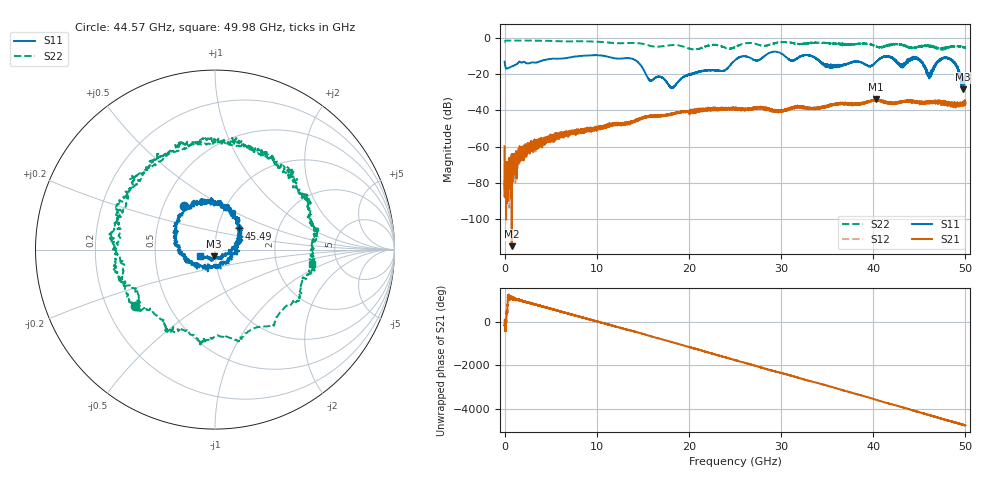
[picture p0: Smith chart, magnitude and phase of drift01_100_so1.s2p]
!Created with skrf (http://scikit-rf.org).
# Hz S RI R 50.0
!freq ReS11 ImS11 ReS21 ImS21 ReS12 ImS12 ReS22 ImS22
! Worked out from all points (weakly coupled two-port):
!   10001 points, 300 kHz to 50 GHz, reference 50 ohm
!   highest |S21| = -33.92 dB at 40.32 GHz (marker M1); lowest = -115.1 dB at 775.3 MHz (marker M2)
!   lowest |S11| = -28.3 dB at 49.72 GHz (marker M3), VSWR 1.08, Z = 49.5 - j3.8 ohm
!   |S11| at or under -10 dB: start of sweep to 8.082 GHz; 10.91 GHz to 25.99 GHz (15.07 GHz wide, 81.7 % of centre); 41.61 GHz to end of sweep (the widest 3 of 16)
!   |S22| runs from -6.5 to -1.4 dB; largest |S21 - S12| = 0.0071
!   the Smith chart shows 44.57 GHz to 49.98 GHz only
!   S11 on the Smith chart (normalised r, x): 44.57 GHz: 0.64, +0.34; 45.49 GHz: 1.27, +0.31; 49.98 GHz: 0.84, -0.06
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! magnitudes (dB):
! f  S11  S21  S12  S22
! 300 kHz  -13.1  -59.9  -63.5  -2.1
! 255.3 MHz  -16.9  -84.8  -79.7  -1.4
! 775.3 MHz  -15.8  -115.1  -70.2  -1.5
! 2.99 GHz  -13.5  -59.4  -58.8  -1.4
! 8.335 GHz  -9.9  -51.0  -51.7  -1.8
! 13.8 GHz  -11.4  -46.6  -46.7  -2.7
! 15.75 GHz  -23.4  -43.4  -43.3  -4.2
! 16.67 GHz  -21.3  -42.9  -42.9  -4.8
! 18.22 GHz  -27.4  -42.0  -42.1  -3.9
! 25 GHz  -12.2  -39.7  -39.6  -5.1
! 33.34 GHz  -10.0  -38.7  -38.9  -2.7
! 35.22 GHz  -15.5  -37.9  -37.2  -3.0
! 40.32 GHz  -13.3  -33.9  -34.5  -4.7
! 41.67 GHz  -10.3  -36.0  -36.0  -4.4
! 43.07 GHz  -14.9  -35.9  -35.2  -3.6
! 44.57 GHz  -10.6  -35.2  -35.6  -5.3
! 45.49 GHz  -15.0  -36.2  -35.6  -4.4
! 46.14 GHz  -21.2  -35.6  -35.4  -4.2
! 48.19 GHz  -11.4  -35.7  -36.6  -5.3
! 49.72 GHz  -28.3  -36.3  -37.2  -5.0
! 49.98 GHz  -21.0  -35.7  -36.8  -5.3
! 50 GHz  -21.3  -35.8  -36.5  -5.4
